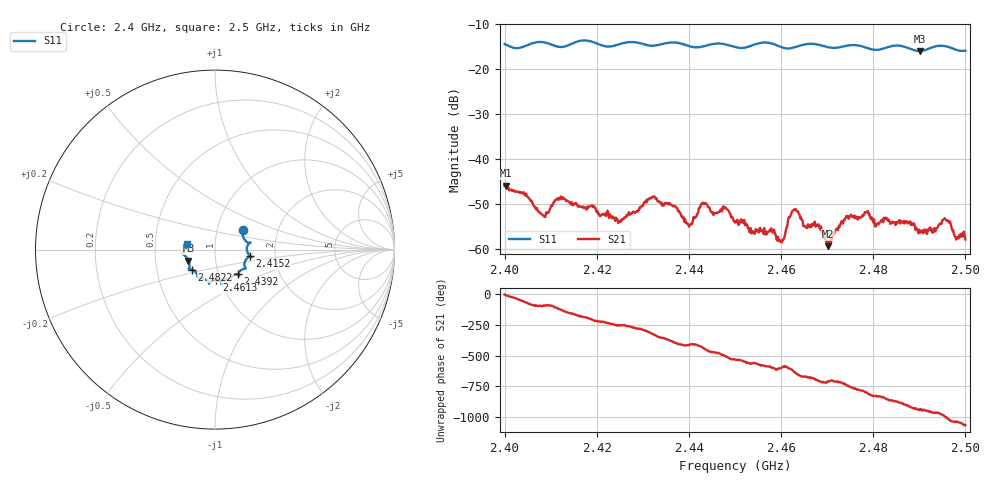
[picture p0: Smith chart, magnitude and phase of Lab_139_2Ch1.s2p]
# Hz S RI R 50
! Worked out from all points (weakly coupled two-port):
!   601 points, 2.4 GHz to 2.5 GHz, reference 50 ohm
!   highest |S21| = -45.89 dB at 2.4003 GHz (marker M1); lowest = -59.3 dB at 2.4702 GHz (marker M2)
!   lowest |S11| = -15.9 dB at 2.4902 GHz (marker M3), VSWR 1.38, Z = 36.9 - j4.61 ohm
!   |S11| at or under -10 dB: start of sweep to end of sweep
!   S12 and S22 are empty: the file has one direction only
!   S11 on the Smith chart (normalised r, x): 2.4 GHz: 1.33, +0.31; 2.4152 GHz: 1.48, -0.11; 2.4392 GHz: 1.24, -0.35; 2.4613 GHz: 0.96, -0.34; 2.4822 GHz: 0.76, -0.17; 2.5 GHz: 0.73, +0.05
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2.4e9  0.1556 0.1108  0.00506 -0.000363  0 0  0 0
2.400333e9  0.1548 0.1064  0.00499 -0.00093  0 0  0 0
2.408333e9  0.1969 0.0395  -0.000138 -0.0024  0 0  0 0
2.411833e9  0.1774 0.00889  -0.00198 -0.00313  0 0  0 0
2.415167e9  0.1951 -0.0361  -0.00306 -0.000872  0 0  0 0
2.416667e9  0.2045 -0.042  -0.00296 5.32e-05  0 0  0 0
2.425e9  0.1656 -0.0961  -0.000517 0.00199  0 0  0 0
2.433333e9  0.132 -0.1322  0.0033 0.000753  0 0  0 0
2.439167e9  0.127 -0.1379  0.00116 -0.00181  0 0  0 0
2.443333e9  0.089 -0.1578  0.000278 -0.00317  0 0  0 0
2.45e9  0.0685 -0.1637  -0.00196 -0.000254  0 0  0 0
2.46e9  0.0247 -0.1753  -0.000575 0.00105  0 0  0 0
2.461333e9  0.00707 -0.1706  -0.000986 0.0015  0 0  0 0
2.463e9  -0.0168 -0.1754  0.000315 0.00271  0 0  0 0
2.466667e9  -0.0334 -0.1897  0.0015 0.00119  0 0  0 0
2.470167e9  -0.0445 -0.1709  0.00107 0.000126  0 0  0 0
2.474667e9  -0.0901 -0.1611  0.00198 -0.000917  0 0  0 0
2.482167e9  -0.128 -0.1119  -0.000957 -0.00175  0 0  0 0
2.483333e9  -0.1395 -0.1104  -0.00167 -0.00132  0 0  0 0
2.490167e9  -0.1479 -0.061  -0.0012 0.00095  0 0  0 0
2.495667e9  -0.1799 -0.0193  0.000273 0.00212  0 0  0 0
2.5e9  -0.1583 0.0338  0.00124 0.000335  0 0  0 0
